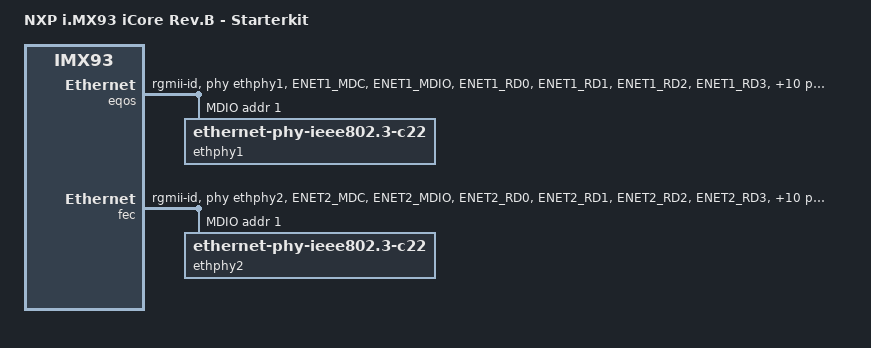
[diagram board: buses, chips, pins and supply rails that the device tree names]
// SPDX-License-Identifier: (GPL-2.0+ OR MIT)
/*
 * Copyright 2022 NXP
 */

/dts-v1/;

#include "imx93-icore-starterkit.dts"
#include <dt-bindings/net/mxl-8611x.h>

/ {
	model = "NXP i.MX93 iCore Rev.B - Starterkit";
};

/*MaxLinear 8611*/
/delete-node/ &ethphy1;
&eqos {
	pinctrl-names = "default";
	pinctrl-0 = <&pinctrl_eqos>;
	phy-mode = "rgmii-id";
	phy-handle = <&ethphy1>;
	snps,reset-gpio = <&gpio1 12 GPIO_ACTIVE_LOW>;
	snps,reset-active-low;
	/* Reset time is 20ms, 100ms */
	snps,reset-delays-us = <0 20000 100000>;
	status = "okay";

	mdio {
		compatible = "snps,dwmac-mdio";
		#address-cells = <1>;
		#size-cells = <0>;

		ethphy1: ethernet-phy@1 {
			compatible = "ethernet-phy-ieee802.3-c22";
			reg = <1>;
			mxl-8611x,led0_cfg = <(
				MXL8611X_LEDX_CFG_LINK_UP_RX_ACT_ON |
				MXL8611X_LEDX_CFG_LINK_UP_TX_ACT_ON |
				MXL8611X_LEDX_CFG_TRAFFIC_ACT_BLINK_IND
			)>;
			mxl-8611x,led1_cfg = <(
				MXL8611X_LEDX_CFG_LINK_UP_10MB_ON |
				MXL8611X_LEDX_CFG_LINK_UP_100MB_ON |
				MXL8611X_LEDX_CFG_LINK_UP_1GB_ON
			)>;
		};
	};
};

/*MaxLinear 8611*/
/delete-node/ &ethphy2;
&fec {
	pinctrl-names = "default";
	pinctrl-0 = <&pinctrl_fec>;
	phy-mode = "rgmii-id";
	phy-handle = <&ethphy2>;
	snps,reset-gpio = <&gpio3 7 GPIO_ACTIVE_LOW>;
	snps,reset-active-low;
	/* Reset time is 20ms, 100ms */
	snps,reset-delays-us = <0 20000 100000>;	
	fsl,magic-packet;
	status = "okay";

	mdio {
		#address-cells = <1>;
		#size-cells = <0>;

		ethphy2: ethernet-phy@1 {
			compatible = "ethernet-phy-ieee802.3-c22";
			reg = <1>;
			mxl-8611x,led0_cfg = <(
				MXL8611X_LEDX_CFG_LINK_UP_RX_ACT_ON |
				MXL8611X_LEDX_CFG_LINK_UP_TX_ACT_ON |
				MXL8611X_LEDX_CFG_TRAFFIC_ACT_BLINK_IND
			)>;
			mxl-8611x,led1_cfg = <(
				MXL8611X_LEDX_CFG_LINK_UP_10MB_ON |
				MXL8611X_LEDX_CFG_LINK_UP_100MB_ON |
				MXL8611X_LEDX_CFG_LINK_UP_1GB_ON
			)>;
		};
	};
};

&iomuxc {

	pinctrl_eqos: eqosgrp {
		fsl,pins = <
			MX93_PAD_ENET1_MDC__ENET_QOS_MDC                        0x1e
			MX93_PAD_ENET1_MDIO__ENET_QOS_MDIO                      0x1e
			MX93_PAD_ENET1_RD0__ENET_QOS_RGMII_RD0                  0x1e
			MX93_PAD_ENET1_RD1__ENET_QOS_RGMII_RD1                  0x1e
			MX93_PAD_ENET1_RD2__ENET_QOS_RGMII_RD2                  0x1e
			MX93_PAD_ENET1_RD3__ENET_QOS_RGMII_RD3                  0x1e
			MX93_PAD_ENET1_RXC__CCM_ENET_QOS_CLOCK_GENERATE_RX_CLK  0x1e
			MX93_PAD_ENET1_RX_CTL__ENET_QOS_RGMII_RX_CTL            0x1e
			MX93_PAD_ENET1_TD0__ENET_QOS_RGMII_TD0                  0x1e
			MX93_PAD_ENET1_TD1__ENET_QOS_RGMII_TD1                  0x1e
			MX93_PAD_ENET1_TD2__ENET_QOS_RGMII_TD2                  0x1e
			MX93_PAD_ENET1_TD3__ENET_QOS_RGMII_TD3                  0x1e
			MX93_PAD_ENET1_TXC__CCM_ENET_QOS_CLOCK_GENERATE_TX_CLK  0x1e
			MX93_PAD_ENET1_TX_CTL__ENET_QOS_RGMII_TX_CTL            0x1e
			MX93_PAD_SAI1_TXC__GPIO1_IO12							0x1e
		>;
	};

	pinctrl_fec: fecgrp {
		fsl,pins = <
			MX93_PAD_ENET2_MDC__ENET1_MDC                   0x1e
			MX93_PAD_ENET2_MDIO__ENET1_MDIO                 0x1e
			MX93_PAD_ENET2_RD0__ENET1_RGMII_RD0             0x1e
			MX93_PAD_ENET2_RD1__ENET1_RGMII_RD1             0x1e
			MX93_PAD_ENET2_RD2__ENET1_RGMII_RD2             0x1e
			MX93_PAD_ENET2_RD3__ENET1_RGMII_RD3             0x1e
			MX93_PAD_ENET2_RXC__ENET1_RGMII_RXC             0x1e
			MX93_PAD_ENET2_RX_CTL__ENET1_RGMII_RX_CTL       0x1e
			MX93_PAD_ENET2_TD0__ENET1_RGMII_TD0             0x1e
			MX93_PAD_ENET2_TD1__ENET1_RGMII_TD1             0x1e
			MX93_PAD_ENET2_TD2__ENET1_RGMII_TD2             0x1e
			MX93_PAD_ENET2_TD3__ENET1_RGMII_TD3             0x1e
			MX93_PAD_ENET2_TXC__ENET1_RGMII_TXC             0x1e
			MX93_PAD_ENET2_TX_CTL__ENET1_RGMII_TX_CTL       0x1e
			MX93_PAD_SD2_RESET_B__GPIO3_IO07       			0x1e
		>;
	};
};
